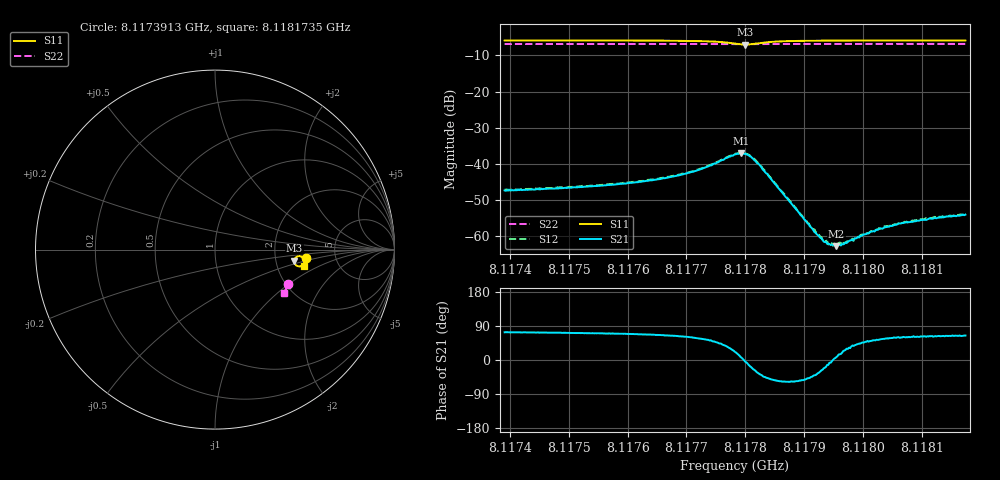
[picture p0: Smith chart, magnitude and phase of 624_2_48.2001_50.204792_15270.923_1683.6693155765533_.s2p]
#  HZ  S  RI  R  50.00
! Rohde & Schwarz Vector Network Analyzer
! Rohde-Schwarz,ZNB20-2Port,1311601062101988,3.16
! Created: UTC 3/20/2024, 12:04:02 PM
! freq[Hz]  re:S11  im:S11  re:S21  im:S21  re:S12  im:S12  re:S22  im:S22
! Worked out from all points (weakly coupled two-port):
!   401 points, 8.1173913 GHz to 8.1181735 GHz, reference 50 ohm
!   highest |S21| = -37.04 dB at 8.1177922 GHz (marker M1); lowest = -62.7 dB at 8.1179545 GHz (marker M2)
!   lowest |S11| = -7.0 dB at 8.1178 GHz (marker M3), VSWR 2.61, Z = 127 - j19.4 ohm
!   |S11| at or under -10 dB: nowhere
!   |S22| runs from -6.9 to -6.8 dB; largest |S21 - S12| = 0.00052
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8.11739126e9  0.505 -0.0454  0.00125 0.00412  0.00131 0.0042  0.4086 -0.1943
8.11752229e9  0.503 -0.0575  0.00154 0.00453  0.0016 0.00467  0.4048 -0.2027
8.11758682e9  0.5014 -0.0642  0.00188 0.00494  0.00194 0.00501  0.4029 -0.207
8.11765332e9  0.4986 -0.0728  0.00251 0.00562  0.00261 0.00573  0.4007 -0.2112
8.1177159e9  0.4911 -0.0843  0.00421 0.00683  0.00435 0.00692  0.3984 -0.2155
8.11778239e9  0.4505 -0.0865  0.0126 0.00491  0.0129 0.00503  0.3948 -0.2189
8.11779217e9  0.4422 -0.0745  0.0139 0.00184  0.0141 0.00208  0.3943 -0.2188
8.11779999e9  0.441 -0.0613  0.0137 -0.00113  0.014 -0.000967  0.3941 -0.2188
8.11781173e9  0.4496 -0.0443  0.0112 -0.00442  0.0115 -0.00467  0.3943 -0.2188
8.11782346e9  0.4642 -0.0368  0.00793 -0.00579  0.00806 -0.00594  0.3946 -0.2193
8.11785671e9  0.4895 -0.0442  0.00257 -0.00378  0.00262 -0.00389  0.3947 -0.222
8.11791342e9  0.4988 -0.0606  0.000924 -0.000893  0.000925 -0.000934  0.3933 -0.226
8.11792711e9  0.4994 -0.0632  0.000825 -0.000485  0.000855 -0.000498  0.3929 -0.2272
8.11793689e9  0.4996 -0.0651  0.000793 -0.00026  0.000815 -0.00028  0.3923 -0.2277
8.11794471e9  0.4998 -0.0665  0.000752 -9.69e-05  0.000804 -0.000134  0.3921 -0.2282
8.11795449e9  0.4998 -0.0679  0.000725 9.63e-05  0.000747 5.55e-05  0.3918 -0.229
8.11796818e9  0.5001 -0.0701  0.000718 0.000332  0.000748 0.000323  0.3913 -0.2298
8.11799556e9  0.5 -0.0739  0.000744 0.00071  0.000744 0.000736  0.3904 -0.2316
8.11803663e9  0.4997 -0.0786  0.000745 0.00111  0.000773 0.00114  0.389 -0.2342
8.11804445e9  0.4996 -0.0796  0.00073 0.00115  0.000748 0.00119  0.3889 -0.2346
8.11808748e9  0.4992 -0.0839  0.00079 0.00141  0.000787 0.00147  0.3873 -0.2375
8.11817352e9  0.4979 -0.0918  0.000859 0.0018  0.000919 0.00185  0.3843 -0.2427
